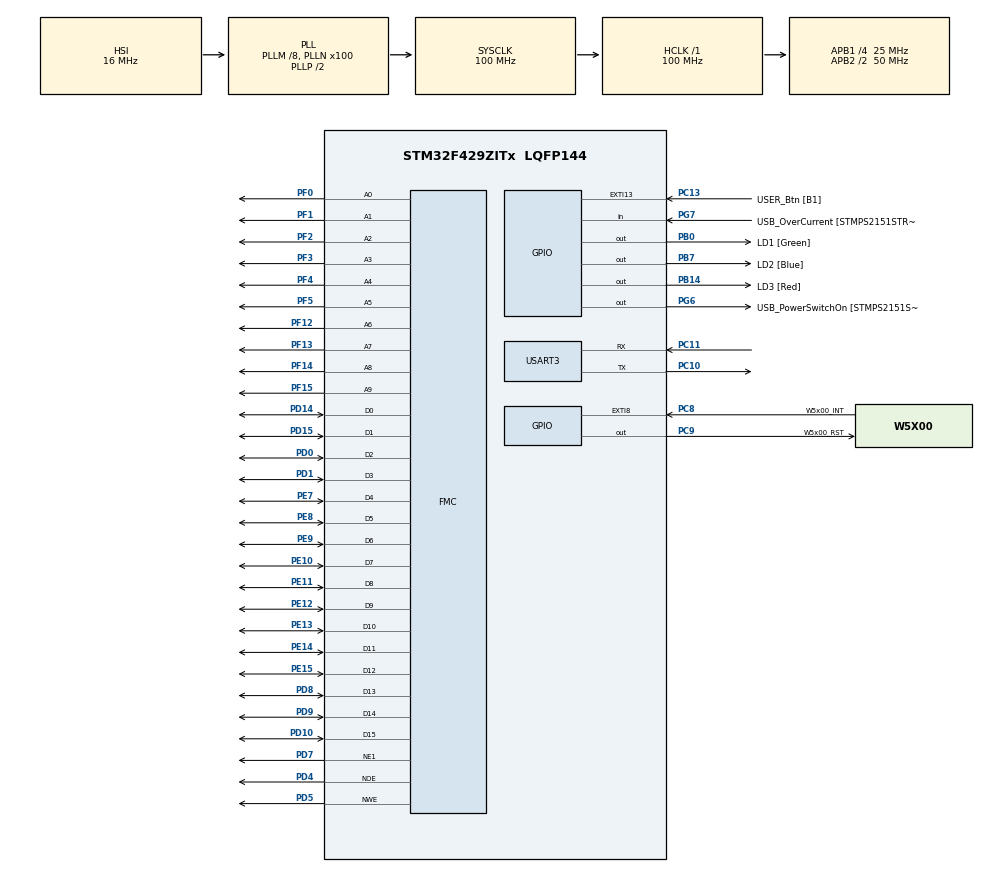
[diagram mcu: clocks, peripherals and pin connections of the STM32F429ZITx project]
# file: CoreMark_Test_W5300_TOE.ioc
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3rdParty.I-CUBE-CoreMark.0.1.0.ApplicationCcDeviceJjApplication=CoreMarkApp
3rdParty.I-CUBE-CoreMark.0.1.0.ITERATIONS=5000
3rdParty.I-CUBE-CoreMark.0.1.0.PRINTF_UART_PORT=huart3
3rdParty.I-CUBE-CoreMark.0.1.0.UtilityJjMISC=true
FMC.AddressSetupTime1=1
FMC.BusTurnAroundDuration1=0
FMC.DataSetupTime1=6
FMC.WriteOperation1=FMC_WRITE_OPERATION_ENABLE
FREERTOS.BinarySemaphores01=coremark_start_sem,Dynamic,NULL;recv_sem,Dynamic,NULL;send_sem,Dynamic,NULL
FREERTOS.Tasks01=defaultTask,24,128,StartDefaultTask,Default,NULL,Dynamic,NULL,NULL;CoreMark_Task,25,4096,StartCorMark_Task,Default,NULL,Dynamic,NULL,NULL;TCP_Task,27,2048,StartTCP_Task,Default,NULL,Dynamic,NULL,NULL;Recv_Task,26,512,StartRecv_Task,Default,NULL,Dynamic,NULL,NULL
FREERTOS.configTOTAL_HEAP_SIZE=131072
Mcu.Family=STM32F4
Mcu.Name=STM32F429ZITx
Mcu.Package=LQFP144
NVIC.EXTI9_5_IRQn=true\:5\:0\:true\:false\:true\:true\:true\:true\:true
NVIC.PriorityGroup=NVIC_PRIORITYGROUP_4
PA13.Mode=Serial_Wire
PA13.Signal=SYS_JTMS-SWDIO
PA14.GPIO_Label=TCK
PA14.Mode=Serial_Wire
PA14.Signal=SYS_JTCK-SWCLK
PB0.GPIO_Label=LD1 [Green]
PB0.Signal=GPIO_Output
PB14.GPIO_Label=LD3 [Red]
PB14.Signal=GPIO_Output
PB7.GPIO_Label=LD2 [Blue]
PB7.Signal=GPIO_Output
PC10.Mode=Asynchronous
PC10.Signal=USART3_TX
PC11.Mode=Asynchronous
PC11.Signal=USART3_RX
PC13.GPIO_Label=USER_Btn [B1]
PC13.Signal=GPXTI13
PC14/OSC32_IN.Mode=LSE-External-Oscillator
PC14/OSC32_IN.Signal=RCC_OSC32_IN
PC15/OSC32_OUT.Mode=LSE-External-Oscillator
PC15/OSC32_OUT.Signal=RCC_OSC32_OUT
PC8.GPIO_Label=W5x00_INT
PC8.GPIO_ModeDefaultEXTI=GPIO_MODE_IT_FALLING
PC8.GPIO_PuPd=GPIO_PULLUP
PC8.Signal=GPXTI8
PC9.GPIO_Label=W5x00_RST
PC9.Signal=GPIO_Output
PD0.Signal=FMC_D2_DA2
PD1.Signal=FMC_D3_DA3
PD10.Signal=FMC_D15_DA15
PD14.Signal=FMC_D0_DA0
PD15.Signal=FMC_D1_DA1
PD4.Signal=FMC_NOE
PD5.Signal=FMC_NWE
PD7.Mode=NorPsramChipSelect1_1
PD7.Signal=FMC_NE1
PD8.Signal=FMC_D13_DA13
PD9.Signal=FMC_D14_DA14
PE10.Signal=FMC_D7_DA7
PE11.Signal=FMC_D8_DA8
PE12.Signal=FMC_D9_DA9
PE13.Signal=FMC_D10_DA10
PE14.Signal=FMC_D11_DA11
PE15.Signal=FMC_D12_DA12
PE7.Signal=FMC_D4_DA4
PE8.Signal=FMC_D5_DA5
PE9.Signal=FMC_D6_DA6
PF0.Signal=FMC_A0
PF1.Signal=FMC_A1
PF12.Signal=FMC_A6
PF13.Signal=FMC_A7
PF14.Signal=FMC_A8
PF15.Signal=FMC_A9
PF2.Signal=FMC_A2
PF3.Signal=FMC_A3
PF4.Signal=FMC_A4
PF5.Signal=FMC_A5
PG6.GPIO_Label=USB_PowerSwitchOn [STMPS2151STR_EN]
PG6.Signal=GPIO_Output
PG7.GPIO_Label=USB_OverCurrent [STMPS2151STR_FAULT]
PG7.Signal=GPIO_Input
PH0/OSC_IN.Mode=HSE-External-Clock-Source
PH0/OSC_IN.Signal=RCC_OSC_IN
PH1/OSC_OUT.Mode=HSE-External-Clock-Source
PH1/OSC_OUT.Signal=RCC_OSC_OUT
ProjectManager.HeapSize=0x200
ProjectManager.StackSize=0x400
ProjectManager.TargetToolchain=MDK-ARM V5.32
RCC.48MHZClocksFreq_Value=50000000
RCC.AHBFreq_Value=100000000
RCC.APB1CLKDivider=RCC_HCLK_DIV4
RCC.APB1Freq_Value=25000000
RCC.APB1TimFreq_Value=50000000
RCC.APB2CLKDivider=RCC_HCLK_DIV2
RCC.APB2Freq_Value=50000000
RCC.APB2TimFreq_Value=100000000
RCC.CortexFreq_Value=100000000
RCC.HCLKFreq_Value=100000000
RCC.HSE_VALUE=8000000
RCC.HSI_VALUE=16000000
RCC.PLLM=8
RCC.PLLMUL=RCC_PLL_MUL9
RCC.PLLN=100
RCC.PRESCALERUSB=RCC_USBCLKSOURCE_PLL_DIV1_5
RCC.SYSCLKFreq_VALUE=100000000
RCC.SYSCLKSource=RCC_SYSCLKSOURCE_PLLCLK
RCC.SYSCLKSourceVirtual=RCC_SYSCLKSOURCE_PLLCLK
RCC.USBFreq_Value=48000000
RCC.VCOOutputFreq_Value=200000000
SH.FMC_A0.0=FMC_A0,10b-a1
SH.FMC_A1.0=FMC_A1,10b-a1
SH.FMC_A2.0=FMC_A2,10b-a1
SH.FMC_A3.0=FMC_A3,10b-a1
SH.FMC_A4.0=FMC_A4,10b-a1
SH.FMC_A5.0=FMC_A5,10b-a1
SH.FMC_A6.0=FMC_A6,10b-a1
SH.FMC_A7.0=FMC_A7,10b-a1
SH.FMC_A8.0=FMC_A8,10b-a1
SH.FMC_A9.0=FMC_A9,10b-a1
SH.FMC_D0_DA0.0=FMC_D0,16b-d1
SH.FMC_D10_DA10.0=FMC_D10,16b-d1
SH.FMC_D11_DA11.0=FMC_D11,16b-d1
SH.FMC_D12_DA12.0=FMC_D12,16b-d1
SH.FMC_D13_DA13.0=FMC_D13,16b-d1
SH.FMC_D14_DA14.0=FMC_D14,16b-d1
SH.FMC_D15_DA15.0=FMC_D15,16b-d1
SH.FMC_D1_DA1.0=FMC_D1,16b-d1
SH.FMC_D2_DA2.0=FMC_D2,16b-d1
SH.FMC_D3_DA3.0=FMC_D3,16b-d1
SH.FMC_D4_DA4.0=FMC_D4,16b-d1
SH.FMC_D5_DA5.0=FMC_D5,16b-d1
SH.FMC_D6_DA6.0=FMC_D6,16b-d1
SH.FMC_D7_DA7.0=FMC_D7,16b-d1
SH.FMC_D8_DA8.0=FMC_D8,16b-d1
SH.FMC_D9_DA9.0=FMC_D9,16b-d1
SH.FMC_NOE.0=FMC_NOE,Sram1
SH.FMC_NWE.0=FMC_NWE,Sram1
USART3.VirtualMode=VM_ASYNC
VP_3rdParty.I-CUBE-CoreMark_VS_DeviceJjApplication_0.1.0_0.1.0.Mode=DeviceJjApplication
VP_3rdParty.I-CUBE-CoreMark_VS_UtilityJjMISC_0.1.0_0.1.0.Mode=UtilityJjMISC
VP_FREERTOS_VS_CMSIS_V2.Mode=CMSIS_V2
board=NUCLEO-F429ZI

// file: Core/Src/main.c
/* USER CODE BEGIN Header */
/**
  ******************************************************************************
  * @file           : main.c
  * @brief          : Main program body
  ******************************************************************************
  * @attention
  *
  * Copyright (c) 2023 STMicroelectronics.
  * All rights reserved.
  *
  * This software is licensed under terms that can be found in the LICENSE file
  * in the root directory of this software component.
  * If no LICENSE file comes with this software, it is provided AS-IS.
  *
  ******************************************************************************
  */
/* USER CODE END Header */
#include "main.h"
#include "cmsis_os.h"
//#include "app_coremarkapp.h"

/* USER CODE BEGIN Includes */
#include "CoreMark_Task.h"
#include "TCP_Task.h"
#include "w5x00_network.h"
#include "wizchip_conf.h"
#include "socket.h"

/* USER CODE END Includes */

UART_HandleTypeDef huart3;

SRAM_HandleTypeDef hsram1;

/* Definitions for defaultTask */
osThreadId_t defaultTaskHandle;
const osThreadAttr_t defaultTask_attributes = {
  .name = "defaultTask",
  .stack_size = 128 * 4,
  .priority = (osPriority_t) osPriorityNormal,
};
/* Definitions for CoreMark_Task */
osThreadId_t CoreMark_TaskHandle;
const osThreadAttr_t CoreMark_Task_attributes = {
  .name = "CoreMark_Task",
  .stack_size = 4096 * 4,
  .priority = (osPriority_t) osPriorityNormal1,
};
/* Definitions for TCP_Task */
osThreadId_t TCP_TaskHandle;
const osThreadAttr_t TCP_Task_attributes = {
  .name = "TCP_Task",
  .stack_size = 2048 * 4,
  .priority = (osPriority_t) osPriorityNormal3,
};
/* Definitions for Recv_Task */
osThreadId_t Recv_TaskHandle;
const osThreadAttr_t Recv_Task_attributes = {
  .name = "Recv_Task",
  .stack_size = 512 * 4,
  .priority = (osPriority_t) osPriorityNormal2,
};
/* Definitions for coremark_start_sem */
osSemaphoreId_t coremark_start_semHandle;
const osSemaphoreAttr_t coremark_start_sem_attributes = {
  .name = "coremark_start_sem"
};
/* Definitions for recv_sem */
osSemaphoreId_t recv_semHandle;
const osSemaphoreAttr_t recv_sem_attributes = {
  .name = "recv_sem"
};
/* Definitions for send_sem */
osSemaphoreId_t send_semHandle;
const osSemaphoreAttr_t send_sem_attributes = {
  .name = "send_sem"
};
/* USER CODE BEGIN PV */
static wiz_NetInfo g_net_info =
{
  .mac = {0x00, 0x08, 0xDC, 0x12, 0x34, 0x56}, // MAC address
  .ip = {192, 168, 2, 120},                     // IP address
  .sn = {255, 255, 255, 0},                    // Subnet Mask
  .gw = {192, 168, 2, 1},                     // Gateway
  .dns = {8, 8, 8, 8},                         // DNS server
  .dhcp = NETINFO_STATIC                       // DHCP enable/disable
};

/* USER CODE END PV */

void SystemClock_Config(void);
static void MX_GPIO_Init(void);
static void MX_FMC_Init(void);
static void MX_USART3_UART_Init(void);
void StartDefaultTask(void *argument);
void StartCorMark_Task(void *argument);
void StartTCP_Task(void *argument);
void StartRecv_Task(void *argument);

int main(void)
{

  /* MCU Configuration--------------------------------------------------------*/

  /* Reset of all peripherals, Initializes the Flash interface and the Systick. */
  HAL_Init();

  /* Configure the system clock */
  SystemClock_Config();

  /* Initialize all configured peripherals */
  MX_GPIO_Init();
  MX_FMC_Init();
  MX_USART3_UART_Init();
  //MX_CoreMarkApp_Init();
  /* USER CODE BEGIN 2 */
  printf("HAL_RCC_GetSysClockFreq = %d\r\n", HAL_RCC_GetSysClockFreq());
  wizchip_network_initialize(&g_net_info);
  wizchip_network_information(&g_net_info);

  CoreMark_TaskHandle = osThreadNew(coremark_task_main, NULL, &CoreMark_Task_attributes);
  TCP_TaskHandle = osThreadNew(tcp_task_main, NULL, &TCP_Task_attributes);
  Recv_TaskHandle = osThreadNew(recv_task_main, NULL, &Recv_Task_attributes);

  coremark_start_semHandle = osSemaphoreNew(1, 0, &coremark_start_sem_attributes);
  send_semHandle = osSemaphoreNew(1, 0, &send_sem_attributes);
  recv_semHandle = osSemaphoreNew(1, 0, &recv_sem_attributes);

  /* USER CODE END 2 */

  /* Init scheduler */
  osKernelInitialize();
/* USER CODE BEGIN Header */
/**
  ******************************************************************************
  * @file           : main.c
  * @brief          : Main program body
  ******************************************************************************
  * @attention
  *
  * Copyright (c) 2023 STMicroelectronics.
  * All rights reserved.
  *
  * This software is licensed under terms that can be found in the LICENSE file
  * in the root directory of this software component.
  * If no LICENSE file comes with this software, it is provided AS-IS.
  *
  ******************************************************************************
  */
/* USER CODE END Header */

  /* Start scheduler */
  osKernelStart();

  /* We should never get here as control is now taken by the scheduler */
  /* Infinite loop */
  while (1)
  {

  }
}

void SystemClock_Config(void)
{
  RCC_OscInitTypeDef RCC_OscInitStruct = {0};
  RCC_ClkInitTypeDef RCC_ClkInitStruct = {0};

  /** Configure the main internal regulator output voltage
  */
  __HAL_RCC_PWR_CLK_ENABLE();
  __HAL_PWR_VOLTAGESCALING_CONFIG(PWR_REGULATOR_VOLTAGE_SCALE3);

  /** Initializes the RCC Oscillators according to the specified parameters
  * in the RCC_OscInitTypeDef structure.
  */
  RCC_OscInitStruct.OscillatorType = RCC_OSCILLATORTYPE_HSI;
  RCC_OscInitStruct.HSIState = RCC_HSI_ON;
  RCC_OscInitStruct.HSICalibrationValue = RCC_HSICALIBRATION_DEFAULT;
  RCC_OscInitStruct.PLL.PLLState = RCC_PLL_ON;
  RCC_OscInitStruct.PLL.PLLSource = RCC_PLLSOURCE_HSI;
  RCC_OscInitStruct.PLL.PLLM = 8;
  RCC_OscInitStruct.PLL.PLLN = 100;
  RCC_OscInitStruct.PLL.PLLP = RCC_PLLP_DIV2;
  RCC_OscInitStruct.PLL.PLLQ = 4;
  if (HAL_RCC_OscConfig(&RCC_OscInitStruct) != HAL_OK)
  {
    Error_Handler();
  }

  /** Initializes the CPU, AHB and APB buses clocks
  */
  RCC_ClkInitStruct.ClockType = RCC_CLOCKTYPE_HCLK|RCC_CLOCKTYPE_SYSCLK
                              |RCC_CLOCKTYPE_PCLK1|RCC_CLOCKTYPE_PCLK2;
  RCC_ClkInitStruct.SYSCLKSource = RCC_SYSCLKSOURCE_PLLCLK;
  RCC_ClkInitStruct.AHBCLKDivider = RCC_SYSCLK_DIV1;
  RCC_ClkInitStruct.APB1CLKDivider = RCC_HCLK_DIV4;
  RCC_ClkInitStruct.APB2CLKDivider = RCC_HCLK_DIV2;

  if (HAL_RCC_ClockConfig(&RCC_ClkInitStruct, FLASH_LATENCY_3) != HAL_OK)
  {
    Error_Handler();
  }
}

static void MX_USART3_UART_Init(void)
{

  huart3.Instance = USART3;
  huart3.Init.BaudRate = 115200;
  huart3.Init.WordLength = UART_WORDLENGTH_8B;
  huart3.Init.StopBits = UART_STOPBITS_1;
  huart3.Init.Parity = UART_PARITY_NONE;
  huart3.Init.Mode = UART_MODE_TX_RX;
  huart3.Init.HwFlowCtl = UART_HWCONTROL_NONE;
  huart3.Init.OverSampling = UART_OVERSAMPLING_16;
  if (HAL_UART_Init(&huart3) != HAL_OK)
  {
    Error_Handler();
  }

}

/* FMC initialization function */
static void MX_FMC_Init(void)
{

  FMC_NORSRAM_TimingTypeDef Timing = {0};

  /** Perform the SRAM1 memory initialization sequence
  */
  hsram1.Instance = FMC_NORSRAM_DEVICE;
  hsram1.Extended = FMC_NORSRAM_EXTENDED_DEVICE;
  /* hsram1.Init */
  hsram1.Init.NSBank = FMC_NORSRAM_BANK1;
  hsram1.Init.DataAddressMux = FMC_DATA_ADDRESS_MUX_DISABLE;
  hsram1.Init.MemoryType = FMC_MEMORY_TYPE_SRAM;
  hsram1.Init.MemoryDataWidth = FMC_NORSRAM_MEM_BUS_WIDTH_16;
  hsram1.Init.BurstAccessMode = FMC_BURST_ACCESS_MODE_DISABLE;
  hsram1.Init.WaitSignalPolarity = FMC_WAIT_SIGNAL_POLARITY_LOW;
  hsram1.Init.WrapMode = FMC_WRAP_MODE_DISABLE;
  hsram1.Init.WaitSignalActive = FMC_WAIT_TIMING_BEFORE_WS;
  hsram1.Init.WriteOperation = FMC_WRITE_OPERATION_ENABLE;
  hsram1.Init.WaitSignal = FMC_WAIT_SIGNAL_DISABLE;
  hsram1.Init.ExtendedMode = FMC_EXTENDED_MODE_DISABLE;
  hsram1.Init.AsynchronousWait = FMC_ASYNCHRONOUS_WAIT_DISABLE;
  hsram1.Init.WriteBurst = FMC_WRITE_BURST_DISABLE;
  hsram1.Init.ContinuousClock = FMC_CONTINUOUS_CLOCK_SYNC_ONLY;
  hsram1.Init.PageSize = FMC_PAGE_SIZE_NONE;
  /* Timing */
  Timing.AddressSetupTime = 1;
  Timing.AddressHoldTime = 15;
  Timing.DataSetupTime = 6;
  Timing.BusTurnAroundDuration = 0;
  Timing.CLKDivision = 16;
  Timing.DataLatency = 17;
  Timing.AccessMode = FMC_ACCESS_MODE_A;
  /* ExtTiming */

  if (HAL_SRAM_Init(&hsram1, &Timing, NULL) != HAL_OK)
  {
    Error_Handler( );
  }

  /* USER CODE BEGIN FMC_Init 2 */

#if 1 //elabsystem github
    Timing.AddressSetupTime = 3;
    Timing.AddressHoldTime = 3;
    Timing.DataSetupTime = 4;
    Timing.BusTurnAroundDuration = 4;
    Timing.CLKDivision = 10;
    Timing.DataLatency = 10;
    Timing.AccessMode = FMC_ACCESS_MODE_A;
#endif

#if 1
    if (HAL_SRAM_Init(&hsram1, &Timing, NULL) != HAL_OK)
    {
      Error_Handler( );
    }
#endif

  /* USER CODE END FMC_Init 2 */
}

static void MX_GPIO_Init(void)
{
  GPIO_InitTypeDef GPIO_InitStruct = {0};

  /* GPIO Ports Clock Enable */
  __HAL_RCC_GPIOC_CLK_ENABLE();
  __HAL_RCC_GPIOF_CLK_ENABLE();
  __HAL_RCC_GPIOH_CLK_ENABLE();
  __HAL_RCC_GPIOB_CLK_ENABLE();
  __HAL_RCC_GPIOE_CLK_ENABLE();
  __HAL_RCC_GPIOD_CLK_ENABLE();
  __HAL_RCC_GPIOG_CLK_ENABLE();
  __HAL_RCC_GPIOA_CLK_ENABLE();

  /*Configure GPIO pin Output Level */
  HAL_GPIO_WritePin(GPIOB, LD1_Pin|LD3_Pin|LD2_Pin, GPIO_PIN_RESET);

  /*Configure GPIO pin Output Level */
  HAL_GPIO_WritePin(USB_PowerSwitchOn_GPIO_Port, USB_PowerSwitchOn_Pin, GPIO_PIN_RESET);

  /*Configure GPIO pin Output Level */
  HAL_GPIO_WritePin(W5x00_RST_GPIO_Port, W5x00_RST_Pin, GPIO_PIN_RESET);

  /*Configure GPIO pin : USER_Btn_Pin */
  GPIO_InitStruct.Pin = USER_Btn_Pin;
  GPIO_InitStruct.Mode = GPIO_MODE_IT_RISING;
  GPIO_InitStruct.Pull = GPIO_NOPULL;
  HAL_GPIO_Init(USER_Btn_GPIO_Port, &GPIO_InitStruct);

  /*Configure GPIO pins : LD1_Pin LD3_Pin LD2_Pin */
  GPIO_InitStruct.Pin = LD1_Pin|LD3_Pin|LD2_Pin;
  GPIO_InitStruct.Mode = GPIO_MODE_OUTPUT_PP;
  GPIO_InitStruct.Pull = GPIO_NOPULL;
  GPIO_InitStruct.Speed = GPIO_SPEED_FREQ_LOW;
  HAL_GPIO_Init(GPIOB, &GPIO_InitStruct);

  /*Configure GPIO pin : USB_PowerSwitchOn_Pin */
  GPIO_InitStruct.Pin = USB_PowerSwitchOn_Pin;
  GPIO_InitStruct.Mode = GPIO_MODE_OUTPUT_PP;
  GPIO_InitStruct.Pull = GPIO_NOPULL;
  GPIO_InitStruct.Speed = GPIO_SPEED_FREQ_LOW;
  HAL_GPIO_Init(USB_PowerSwitchOn_GPIO_Port, &GPIO_InitStruct);

  /*Configure GPIO pin : USB_OverCurrent_Pin */
  GPIO_InitStruct.Pin = USB_OverCurrent_Pin;
  GPIO_InitStruct.Mode = GPIO_MODE_INPUT;
  GPIO_InitStruct.Pull = GPIO_NOPULL;
  HAL_GPIO_Init(USB_OverCurrent_GPIO_Port, &GPIO_InitStruct);

  /*Configure GPIO pin : W5x00_INT_Pin */
  GPIO_InitStruct.Pin = W5x00_INT_Pin;
  GPIO_InitStruct.Mode = GPIO_MODE_IT_FALLING;
  GPIO_InitStruct.Pull = GPIO_PULLUP;
  HAL_GPIO_Init(W5x00_INT_GPIO_Port, &GPIO_InitStruct);

  /*Configure GPIO pin : W5x00_RST_Pin */
  GPIO_InitStruct.Pin = W5x00_RST_Pin;
  GPIO_InitStruct.Mode = GPIO_MODE_OUTPUT_PP;
  GPIO_InitStruct.Pull = GPIO_NOPULL;
  GPIO_InitStruct.Speed = GPIO_SPEED_FREQ_LOW;
  HAL_GPIO_Init(W5x00_RST_GPIO_Port, &GPIO_InitStruct);

  /* EXTI interrupt init*/
  HAL_NVIC_SetPriority(EXTI9_5_IRQn, 5, 0);
  HAL_NVIC_EnableIRQ(EXTI9_5_IRQn);

}

/* USER CODE BEGIN 4 */

void HAL_GPIO_EXTI_Callback(uint16_t GPIO_Pin)
{
  osSemaphoreRelease(recv_semHandle);
}

/* USER CODE END 4 */

void StartDefaultTask(void *argument)
{
  for(;;)
  {
    osDelay(1);
  }
}

void StartCorMark_Task(void *argument)
{
  for(;;)
  {
    osDelay(1);
  }
}

void StartTCP_Task(void *argument)
{
  for(;;)
  {
    osDelay(1);
  }
}

void StartRecv_Task(void *argument)
{
  for(;;)
  {
    osDelay(1);
  }
}

void Error_Handler(void)
{
  __disable_irq();
  while (1)
  {
  }
}
